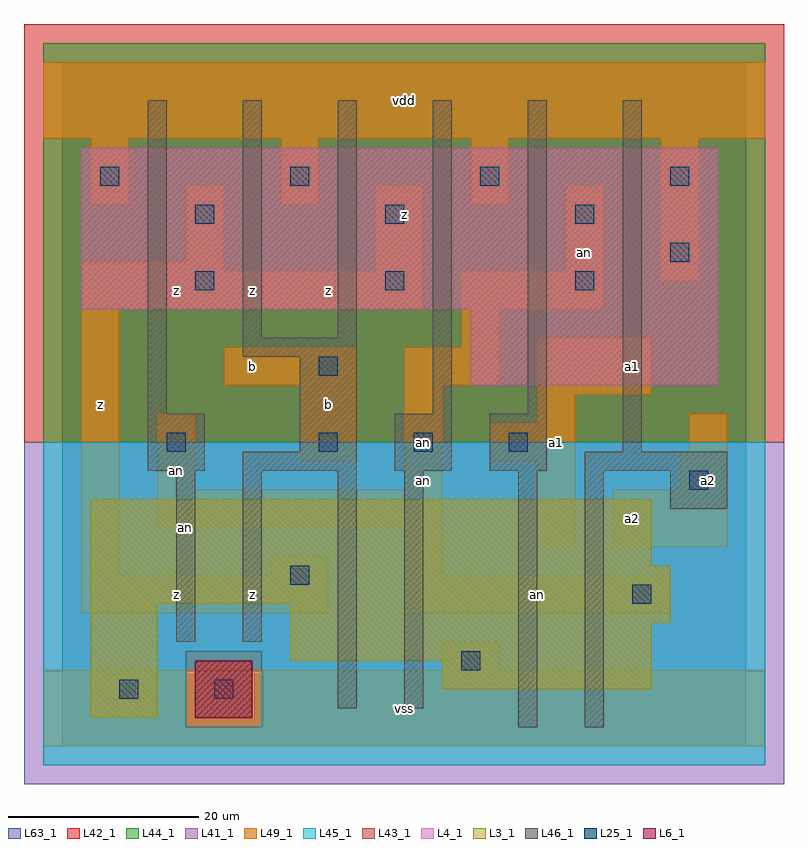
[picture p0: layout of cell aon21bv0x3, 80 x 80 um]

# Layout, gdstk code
import gdstk
lib = gdstk.Library(unit=1e-6, precision=1e-09)
def R(c, l, rs):  # rectangles x0, y0, x1, y1
    for r in rs: c.add(gdstk.rectangle(r[:2], r[2:], *l))
def A(c, l, x, y, w, h, nx, ny, dx, dy):  # array of equal rectangles
    R(c, l, [(x+i*dx, y+j*dy, x+i*dx+w, y+j*dy+h) for i in range(nx) for j in range(ny)])
L3_1 = (3, 1)
L4_1 = (4, 1)
L6_1 = (6, 1)
L25_1 = (25, 1)
L41_1 = (41, 1)
L42_1 = (42, 1)
L43_1 = (43, 1)
L44_1 = (44, 1)
L45_1 = (45, 1)
L46_1 = (46, 1)
L49_1 = (49, 1)
L63_1 = (63, 1)

aon21bv0x3 = lib.new_cell('aon21bv0x3')
R(aon21bv0x3, L3_1, [(3,3,10,15), (40,6,62,9), (24,9,62,13), (24,13,64,15), (3,15,64,19), (3,19,62,26)])
R(aon21bv0x3, L4_1, [(43,38,69,46), (2,46,69,63)])
R(aon21bv0x3, L6_1, [(14,3,20,9), (14,3,20,9)])
A(aon21bv0x3, L25_1, 27, 31, 2, 2, 3, 1, 10, 0)
A(aon21bv0x3, L25_1, 14, 48, 2, 2, 3, 2, 20, 7)
A(aon21bv0x3, L25_1, 4, 59, 2, 2, 4, 1, 20, 0)
R(aon21bv0x3, L25_1, [(6,5,8,7), (16,5,18,7), (42,8,44,10), (60,15,62,17), (24,17,26,19), (66,27,68,29), (11,31,13,33), (27,39,29,41), (64,51,66,53)])
R(aon21bv0x3, L41_1, [(-4,-4,76,32)])
R(aon21bv0x3, L42_1, [(-4,32,76,76)])
R(aon21bv0x3, L43_1, [(3,3,10,15), (14,3,20,9), (40,6,62,9), (24,9,62,13), (24,13,64,15), (3,15,64,19), (3,19,62,26), (43,38,69,46), (2,46,69,63)])
R(aon21bv0x3, L44_1, [(13,2,21,10), (-2,32,74,74)])
R(aon21bv0x3, L45_1, [(-2,-2,74,2), (-2,2,13,10), (21,2,74,10), (-2,10,74,32)])
R(aon21bv0x3, L46_1, [(48,2,50,29), (55,2,57,29), (29,4,31,29), (36,4,38,29), (12,11,14,29), (19,11,21,29), (64,25,70,29), (9,29,15,35), (19,29,31,31), (35,29,41,35), (45,29,51,35), (55,29,70,31), (25,31,31,41), (59,31,61,68), (9,35,11,68), (39,35,41,68), (49,35,51,68), (19,41,31,43), (19,43,21,68), (29,43,31,68)])
A(aon21bv0x3, L49_1, 3, 57, 4, 7, 3, 1, 20, 0)
R(aon21bv0x3, L49_1, [(-2,0,74,8), (40,8,46,11), (2,14,28,18), (36,14,64,18), (2,18,6,46), (22,18,28,20), (36,18,40,23), (50,21,54,30), (58,21,70,27), (10,23,40,27), (10,27,14,35), (36,27,40,38), (65,27,70,31), (25,30,31,38), (45,30,54,34), (66,31,70,35), (50,34,54,37), (50,37,62,43), (17,38,31,42), (36,38,46,42), (42,42,46,46), (2,46,38,50), (42,46,57,50), (63,49,67,64), (2,50,17,51), (33,50,38,59), (53,50,57,59), (13,51,17,59), (-2,64,74,72)])
R(aon21bv0x3, L63_1, [(0,0,72,72)])
aon21bv0x3.add(gdstk.Label('an', (13,23), layer=46, texttype=1))
aon21bv0x3.add(gdstk.Label('an', (38,32), layer=49, texttype=1))
aon21bv0x3.add(gdstk.Label('z', (4,36), layer=49, texttype=1))
aon21bv0x3.add(gdstk.Label('z', (20,16), layer=49, texttype=1))
aon21bv0x3.add(gdstk.Label('z', (12,16), layer=49, texttype=1))
aon21bv0x3.add(gdstk.Label('an', (12,29), layer=49, texttype=1))
aon21bv0x3.add(gdstk.Label('b', (20,40), layer=49, texttype=1))
aon21bv0x3.add(gdstk.Label('z', (12,48), layer=49, texttype=1))
aon21bv0x3.add(gdstk.Label('z', (20,48), layer=49, texttype=1))
aon21bv0x3.add(gdstk.Label('vss', (36,4), layer=49, texttype=1))
aon21bv0x3.add(gdstk.Label('an', (38,28), layer=49, texttype=1))
aon21bv0x3.add(gdstk.Label('b', (28,36), layer=49, texttype=1))
aon21bv0x3.add(gdstk.Label('z', (28,48), layer=49, texttype=1))
aon21bv0x3.add(gdstk.Label('z', (36,56), layer=49, texttype=1))
aon21bv0x3.add(gdstk.Label('vdd', (36,68), layer=49, texttype=1))
aon21bv0x3.add(gdstk.Label('a1', (52,32), layer=49, texttype=1))
aon21bv0x3.add(gdstk.Label('an', (55,52), layer=49, texttype=1))
aon21bv0x3.add(gdstk.Label('an', (50,16), layer=49, texttype=1))
aon21bv0x3.add(gdstk.Label('a2', (60,24), layer=49, texttype=1))
aon21bv0x3.add(gdstk.Label('a2', (68,28), layer=49, texttype=1))
aon21bv0x3.add(gdstk.Label('a1', (60,40), layer=49, texttype=1))

lib.write_gds('aon21bv0x3.gds')
